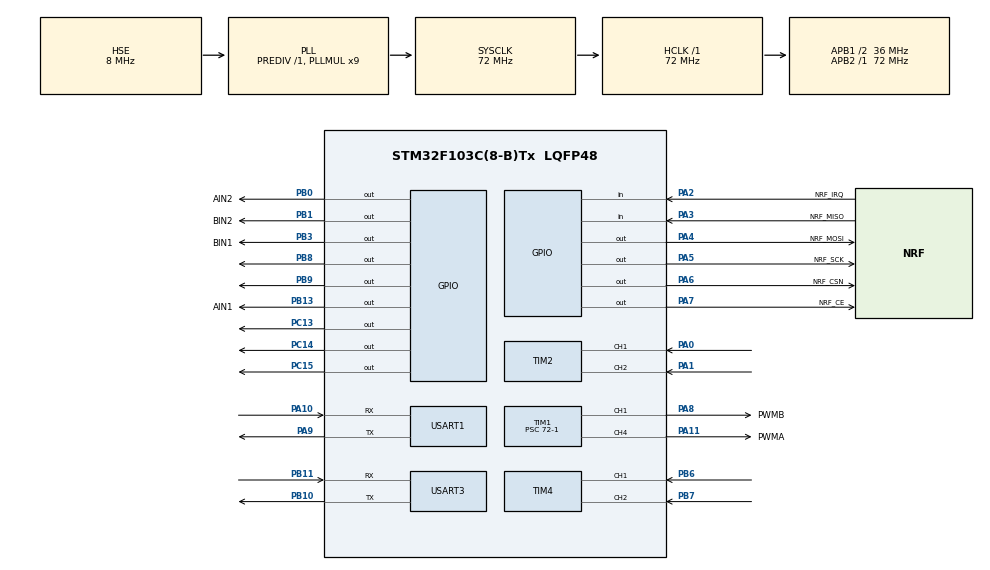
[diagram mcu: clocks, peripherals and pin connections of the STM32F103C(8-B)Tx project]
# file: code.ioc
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Dma.Request0=USART3_RX
Dma.Request1=USART1_RX
Dma.USART1_RX.1.Direction=DMA_PERIPH_TO_MEMORY
Dma.USART1_RX.1.Instance=DMA1_Channel5
Dma.USART1_RX.1.MemDataAlignment=DMA_MDATAALIGN_BYTE
Dma.USART1_RX.1.MemInc=DMA_MINC_ENABLE
Dma.USART1_RX.1.Mode=DMA_NORMAL
Dma.USART1_RX.1.PeriphDataAlignment=DMA_PDATAALIGN_BYTE
Dma.USART1_RX.1.PeriphInc=DMA_PINC_DISABLE
Dma.USART1_RX.1.Priority=DMA_PRIORITY_LOW
Dma.USART3_RX.0.Direction=DMA_PERIPH_TO_MEMORY
Dma.USART3_RX.0.Instance=DMA1_Channel3
Dma.USART3_RX.0.MemDataAlignment=DMA_MDATAALIGN_BYTE
Dma.USART3_RX.0.MemInc=DMA_MINC_ENABLE
Dma.USART3_RX.0.Mode=DMA_NORMAL
Dma.USART3_RX.0.PeriphDataAlignment=DMA_PDATAALIGN_BYTE
Dma.USART3_RX.0.PeriphInc=DMA_PINC_DISABLE
Dma.USART3_RX.0.Priority=DMA_PRIORITY_LOW
FREERTOS.Tasks01=defaultTask,24,256,StartDefaultTask,Default,NULL,Dynamic,NULL,NULL
FREERTOS.configMINIMAL_STACK_SIZE=256
FREERTOS.configTOTAL_HEAP_SIZE=12000
Mcu.Family=STM32F1
Mcu.Name=STM32F103C(8-B)Tx
Mcu.Package=LQFP48
NVIC.DMA1_Channel3_IRQn=true\:5\:0\:false\:false\:true\:true\:false\:true\:true
NVIC.DMA1_Channel5_IRQn=true\:5\:0\:false\:false\:true\:true\:false\:true\:true
NVIC.PriorityGroup=NVIC_PRIORITYGROUP_4
NVIC.TIM2_IRQn=true\:5\:0\:false\:false\:true\:true\:true\:true\:true
NVIC.TIM3_IRQn=true\:15\:0\:false\:false\:true\:false\:false\:true\:true
NVIC.TIM4_IRQn=true\:5\:0\:false\:false\:true\:true\:true\:true\:true
NVIC.TimeBase=TIM3_IRQn
NVIC.TimeBaseIP=TIM3
NVIC.USART1_IRQn=true\:5\:0\:false\:false\:true\:true\:true\:true\:true
NVIC.USART3_IRQn=true\:5\:0\:false\:false\:true\:true\:true\:true\:true
PA0-WKUP.Signal=S_TIM2_CH1_ETR
PA1.Signal=S_TIM2_CH2
PA10.Mode=Asynchronous
PA10.Signal=USART1_RX
PA11.GPIO_Label=PWMA
PA11.Signal=S_TIM1_CH4
PA13.Mode=Serial_Wire
PA13.Signal=SYS_JTMS-SWDIO
PA14.Mode=Serial_Wire
PA14.Signal=SYS_JTCK-SWCLK
PA2.GPIO_Label=NRF_IRQ
PA2.GPIO_PuPd=GPIO_PULLUP
PA2.Signal=GPIO_Input
PA3.GPIO_Label=NRF_MISO
PA3.GPIO_PuPd=GPIO_PULLUP
PA3.Signal=GPIO_Input
PA4.GPIO_Label=NRF_MOSI
PA4.Signal=GPIO_Output
PA5.GPIO_Label=NRF_SCK
PA5.Signal=GPIO_Output
PA6.GPIO_Label=NRF_CSN
PA6.Signal=GPIO_Output
PA7.GPIO_Label=NRF_CE
PA7.Signal=GPIO_Output
PA8.GPIO_Label=PWMB
PA8.Signal=S_TIM1_CH1
PA9.Mode=Asynchronous
PA9.Signal=USART1_TX
PB0.GPIO_Label=AIN2
PB0.Signal=GPIO_Output
PB1.GPIO_Label=BIN2
PB1.Signal=GPIO_Output
PB10.Mode=Asynchronous
PB10.Signal=USART3_TX
PB11.Mode=Asynchronous
PB11.Signal=USART3_RX
PB13.GPIO_Label=AIN1
PB13.Signal=GPIO_Output
PB3.GPIO_Label=BIN1
PB3.Signal=GPIO_Output
PB6.GPIO_PuPd=GPIO_PULLUP
PB6.Signal=S_TIM4_CH1
PB7.GPIO_PuPd=GPIO_PULLUP
PB7.Signal=S_TIM4_CH2
PB8.GPIO_ModeDefaultOutputPP=GPIO_MODE_OUTPUT_OD
PB8.GPIO_PuPd=GPIO_PULLUP
PB8.Signal=GPIO_Output
PB9.GPIO_ModeDefaultOutputPP=GPIO_MODE_OUTPUT_OD
PB9.GPIO_PuPd=GPIO_PULLUP
PB9.Signal=GPIO_Output
PC13-TAMPER-RTC.Signal=GPIO_Output
PC14-OSC32_IN.Signal=GPIO_Output
PC15-OSC32_OUT.Signal=GPIO_Output
PD0-OSC_IN.Mode=HSE-External-Oscillator
PD0-OSC_IN.Signal=RCC_OSC_IN
PD1-OSC_OUT.Mode=HSE-External-Oscillator
PD1-OSC_OUT.Signal=RCC_OSC_OUT
ProjectManager.HeapSize=0x200
ProjectManager.StackSize=0x400
ProjectManager.TargetToolchain=MDK-ARM V5.32
RCC.AHBFreq_Value=72000000
RCC.APB1CLKDivider=RCC_HCLK_DIV2
RCC.APB1Freq_Value=36000000
RCC.APB1TimFreq_Value=72000000
RCC.APB2Freq_Value=72000000
RCC.APB2TimFreq_Value=72000000
RCC.HCLKFreq_Value=72000000
RCC.PLLMUL=RCC_PLL_MUL9
RCC.PLLSourceVirtual=RCC_PLLSOURCE_HSE
RCC.SYSCLKFreq_VALUE=72000000
RCC.SYSCLKSource=RCC_SYSCLKSOURCE_PLLCLK
RCC.USBFreq_Value=72000000
SH.S_TIM1_CH1.0=TIM1_CH1,PWM Generation1 CH1
SH.S_TIM1_CH4.0=TIM1_CH4,PWM Generation4 CH4
SH.S_TIM2_CH1_ETR.0=TIM2_CH1,Encoder_Interface
SH.S_TIM2_CH2.0=TIM2_CH2,Encoder_Interface
SH.S_TIM4_CH1.0=TIM4_CH1,Encoder_Interface
SH.S_TIM4_CH2.0=TIM4_CH2,Encoder_Interface
TIM1.AutoReloadPreload=TIM_AUTORELOAD_PRELOAD_ENABLE
TIM1.Channel-PWM\ Generation1\ CH1=TIM_CHANNEL_1
TIM1.Channel-PWM\ Generation4\ CH4=TIM_CHANNEL_4
TIM1.Period=1000-1
TIM1.Prescaler=72-1
TIM2.EncoderMode=TIM_ENCODERMODE_TI12
TIM2.IC1Filter=6
TIM2.IC2Filter=6
TIM4.EncoderMode=TIM_ENCODERMODE_TI12
TIM4.IC1Filter=6
TIM4.IC2Filter=6
USART1.VirtualMode=VM_ASYNC
USART3.VirtualMode=VM_ASYNC
VP_FREERTOS_VS_CMSIS_V2.Mode=CMSIS_V2
VP_SYS_VS_tim3.Mode=TIM3
board=custom

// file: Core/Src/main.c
/* USER CODE BEGIN Header */
/**
  ******************************************************************************
  * @file           : main.c
  * @brief          : Main program body
  ******************************************************************************
  * @attention
  *
  * Copyright (c) 2026 STMicroelectronics.
  * All rights reserved.
  *
  * This software is licensed under terms that can be found in the LICENSE file
  * in the root directory of this software component.
  * If no LICENSE file comes with this software, it is provided AS-IS.
  *
  ******************************************************************************
  */
/* USER CODE END Header */
#include "main.h"
#include "cmsis_os.h"
#include "dma.h"
#include "tim.h"
#include "usart.h"
#include "gpio.h"

/* USER CODE BEGIN Includes */
#include "bspsystem.h"
/* USER CODE END Includes */

void SystemClock_Config(void);
void MX_FREERTOS_Init(void);

/* USER CODE BEGIN 0 */
uint8_t RDataBuff[100];
char c;
/* USER CODE END 0 */

int main(void)
{

  /* MCU Configuration--------------------------------------------------------*/

  /* Reset of all peripherals, Initializes the Flash interface and the Systick. */
  HAL_Init();

  /* USER CODE BEGIN Init */
  HAL_Delay(500);
  VelocityBroad_Init();
  Queue_Init();
	KalmanFilter_Init();
	PID_Init();
  /* USER CODE END Init */

  /* Configure the system clock */
  SystemClock_Config();

  /* Initialize all configured peripherals */
  MX_GPIO_Init();
  MX_DMA_Init();
  MX_TIM1_Init();
  MX_TIM4_Init();
  MX_TIM2_Init();
  MX_USART3_UART_Init();
  MX_USART1_UART_Init();
  /* USER CODE BEGIN 2 */
	__HAL_UART_ENABLE_IT(&huart1, UART_IT_IDLE);  // IDLE中断使能
  __HAL_UART_CLEAR_IDLEFLAG(&huart1);
  HAL_UART_Receive_DMA(&huart1, (uint8_t*)RDataBuff, 100);
  HAL_TIM_PWM_Start(&htim1,TIM_CHANNEL_1);
  HAL_TIM_PWM_Start(&htim1,TIM_CHANNEL_4);
  HAL_TIM_Encoder_Start(&htim2,TIM_CHANNEL_ALL);
  HAL_TIM_Encoder_Start(&htim4,TIM_CHANNEL_ALL);
  HAL_TIM_Base_Start_IT(&htim2);
  HAL_TIM_Base_Start_IT(&htim4);
	Velocity_Ouput(0, 0);

  /* USER CODE END 2 */

  /* Init scheduler */
  osKernelInitialize();

  /* Call init function for freertos objects (in cmsis_os2.c) */
  MX_FREERTOS_Init();

  /* Start scheduler */
  osKernelStart();

  /* We should never get here as control is now taken by the scheduler */

  /* Infinite loop */
  while (1)
  {

  }
}

void SystemClock_Config(void)
{
  RCC_OscInitTypeDef RCC_OscInitStruct = {0};
  RCC_ClkInitTypeDef RCC_ClkInitStruct = {0};

  /** Initializes the RCC Oscillators according to the specified parameters
  * in the RCC_OscInitTypeDef structure.
  */
  RCC_OscInitStruct.OscillatorType = RCC_OSCILLATORTYPE_HSE;
  RCC_OscInitStruct.HSEState = RCC_HSE_ON;
  RCC_OscInitStruct.HSEPredivValue = RCC_HSE_PREDIV_DIV1;
  RCC_OscInitStruct.HSIState = RCC_HSI_ON;
  RCC_OscInitStruct.PLL.PLLState = RCC_PLL_ON;
  RCC_OscInitStruct.PLL.PLLSource = RCC_PLLSOURCE_HSE;
  RCC_OscInitStruct.PLL.PLLMUL = RCC_PLL_MUL9;
  if (HAL_RCC_OscConfig(&RCC_OscInitStruct) != HAL_OK)
  {
    Error_Handler();
  }

  /** Initializes the CPU, AHB and APB buses clocks
  */
  RCC_ClkInitStruct.ClockType = RCC_CLOCKTYPE_HCLK|RCC_CLOCKTYPE_SYSCLK
                              |RCC_CLOCKTYPE_PCLK1|RCC_CLOCKTYPE_PCLK2;
  RCC_ClkInitStruct.SYSCLKSource = RCC_SYSCLKSOURCE_PLLCLK;
  RCC_ClkInitStruct.AHBCLKDivider = RCC_SYSCLK_DIV1;
  RCC_ClkInitStruct.APB1CLKDivider = RCC_HCLK_DIV2;
  RCC_ClkInitStruct.APB2CLKDivider = RCC_HCLK_DIV1;

  if (HAL_RCC_ClockConfig(&RCC_ClkInitStruct, FLASH_LATENCY_2) != HAL_OK)
  {
    Error_Handler();
  }
}

void HAL_TIM_PeriodElapsedCallback(TIM_HandleTypeDef *htim)
{
  if (htim->Instance == TIM3) {
    HAL_IncTick();
  }
}

void Error_Handler(void)
{
  __disable_irq();
  while (1)
  {
  }
}

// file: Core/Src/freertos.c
/* USER CODE BEGIN Header */
/**
  ******************************************************************************
  * File Name          : freertos.c
  * Description        : Code for freertos applications
  ******************************************************************************
  * @attention
  *
  * Copyright (c) 2026 STMicroelectronics.
  * All rights reserved.
  *
  * This software is licensed under terms that can be found in the LICENSE file
  * in the root directory of this software component.
  * If no LICENSE file comes with this software, it is provided AS-IS.
  *
  ******************************************************************************
  */
/* USER CODE END Header */

#include "FreeRTOS.h"
#include "task.h"
#include "main.h"
#include "cmsis_os.h"

/* USER CODE BEGIN Includes */
#include "bspsystem.h"
/* USER CODE END Includes */

/* Definitions for defaultTask */
osThreadId_t defaultTaskHandle;
const osThreadAttr_t defaultTask_attributes = {
  .name = "defaultTask",
  .stack_size = 256 * 4,
  .priority = (osPriority_t) osPriorityNormal,
};

void StartDefaultTask(void *argument);

void MX_FREERTOS_Init(void); /* (MISRA C 2004 rule 8.1) */

void MX_FREERTOS_Init(void) {

  /* Create the thread(s) */
  /* creation of defaultTask */
  defaultTaskHandle = osThreadNew(StartDefaultTask, NULL, &defaultTask_attributes);

  /* USER CODE BEGIN RTOS_THREADS */
  xTaskCreate(OLED_Task,"OLED_Task",256,NULL,osPriorityNormal,NULL);
  xTaskCreate(UartPrint_Task,"UartPrint_Task",128,NULL,osPriorityNormal,NULL);
  xTaskCreate(SerialDataProcess_Task,"SerialDataProcess_Task",320,NULL,osPriorityNormal,NULL);
  xTaskCreate(MPU6050_Task,"MPU6050_Task",320,NULL,osPriorityHigh1,NULL);
  xTaskCreate(VelocityCulculate_Task,"VelocityCulculate_Task",128,NULL,osPriorityNormal,NULL);
  xTaskCreate(PDVectAndPISoeed_Task,"PDVectAndPISoeed_Task",192,NULL,osPriorityHigh,NULL);
  xTaskCreate(NRF24L01_Receive_Task,"NRF24L01_Receive_Task",192,NULL,osPriorityNormal,NULL);
  //xTaskCreate(HostComp_Task,"HostComp_Task",512,NULL,osPriorityNormal,NULL);
  /* add threads, ... */
  /* USER CODE END RTOS_THREADS */

}

void StartDefaultTask(void *argument)
{
  /* USER CODE BEGIN StartDefaultTask */
  /* Infinite loop */
  for(;;)
  {
    HAL_GPIO_TogglePin(GPIOC,GPIO_PIN_13);
    osDelay(500);
  }
  /* USER CODE END StartDefaultTask */
}
